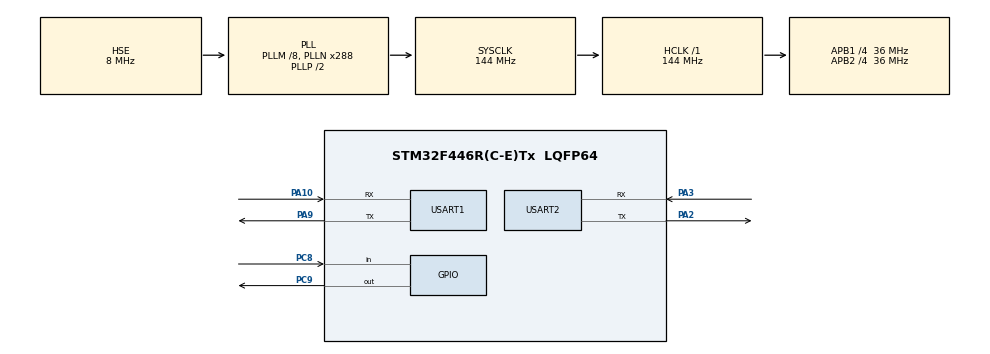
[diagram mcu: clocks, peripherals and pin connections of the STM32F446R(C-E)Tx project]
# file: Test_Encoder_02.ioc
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Mcu.Family=STM32F4
Mcu.Name=STM32F446R(C-E)Tx
Mcu.Package=LQFP64
NVIC.PriorityGroup=NVIC_PRIORITYGROUP_4
NVIC.TIM2_IRQn=true\:0\:0\:false\:true\:true\:1\:true
PA10.Mode=Asynchronous
PA10.Signal=USART1_RX
PA2.Mode=Asynchronous
PA2.Signal=USART2_TX
PA3.Mode=Asynchronous
PA3.Signal=USART2_RX
PA9.Mode=Asynchronous
PA9.Signal=USART1_TX
PC8.Signal=GPIO_Input
PC9.GPIO_Speed=GPIO_SPEED_FREQ_VERY_HIGH
PC9.Signal=GPIO_Output
PH0-OSC_IN.Mode=HSE-External-Clock-Source
PH0-OSC_IN.Signal=RCC_OSC_IN
PH1-OSC_OUT.Mode=HSE-External-Clock-Source
PH1-OSC_OUT.Signal=RCC_OSC_OUT
ProjectManager.HeapSize=0x200
ProjectManager.StackSize=0x400
ProjectManager.TargetToolchain=SW4STM32
RCC.AHBFreq_Value=144000000
RCC.APB1CLKDivider=RCC_HCLK_DIV4
RCC.APB1Freq_Value=36000000
RCC.APB1TimFreq_Value=72000000
RCC.APB2CLKDivider=RCC_HCLK_DIV4
RCC.APB2Freq_Value=36000000
RCC.APB2TimFreq_Value=72000000
RCC.CortexFreq_Value=144000000
RCC.HCLKFreq_Value=144000000
RCC.HSE_VALUE=8000000
RCC.PLLM=8
RCC.PLLN=288
RCC.PLLSourceVirtual=RCC_PLLSOURCE_HSE
RCC.SYSCLKFreq_VALUE=144000000
RCC.SYSCLKSource=RCC_SYSCLKSOURCE_PLLCLK
RCC.USBFreq_Value=144000000
RCC.VCOOutputFreq_Value=288000000
TIM2.Period=4000000000
TIM2.Prescaler=36
TIM3.Period=65500
TIM3.Prescaler=18
USART1.VirtualMode=VM_ASYNC
USART2.VirtualMode=VM_ASYNC
VP_TIM2_VS_ClockSourceINT.Mode=Internal
VP_TIM2_VS_ClockSourceITR.Mode=TriggerSource_ITR0
VP_TIM3_VS_ClockSourceINT.Mode=Internal
board=custom

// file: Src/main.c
/**
  ******************************************************************************
  * @file           : main.c
  * @brief          : Main program body
  ******************************************************************************
  ** This notice applies to any and all portions of this file
  * that are not between comment pairs USER CODE BEGIN and
  * USER CODE END. Other portions of this file, whether
  * inserted by the user or by software development tools
  * are owned by their respective copyright owners.
  *
  * COPYRIGHT(c) 2018 STMicroelectronics
  *
  * Redistribution and use in source and binary forms, with or without modification,
  * are permitted provided that the following conditions are met:
  *   1. Redistributions of source code must retain the above copyright notice,
  *      this list of conditions and the following disclaimer.
  *   2. Redistributions in binary form must reproduce the above copyright notice,
  *      this list of conditions and the following disclaimer in the documentation
  *      and/or other materials provided with the distribution.
  *   3. Neither the name of STMicroelectronics nor the names of its contributors
  *      may be used to endorse or promote products derived from this software
  *      without specific prior written permission.
  *
  * THIS SOFTWARE IS PROVIDED BY THE COPYRIGHT HOLDERS AND CONTRIBUTORS "AS IS"
  * AND ANY EXPRESS OR IMPLIED WARRANTIES, INCLUDING, BUT NOT LIMITED TO, THE
  * IMPLIED WARRANTIES OF MERCHANTABILITY AND FITNESS FOR A PARTICULAR PURPOSE ARE
  * DISCLAIMED. IN NO EVENT SHALL THE COPYRIGHT HOLDER OR CONTRIBUTORS BE LIABLE
  * FOR ANY DIRECT, INDIRECT, INCIDENTAL, SPECIAL, EXEMPLARY, OR CONSEQUENTIAL
  * DAMAGES (INCLUDING, BUT NOT LIMITED TO, PROCUREMENT OF SUBSTITUTE GOODS OR
  * SERVICES; LOSS OF USE, DATA, OR PROFITS; OR BUSINESS INTERRUPTION) HOWEVER
  * CAUSED AND ON ANY THEORY OF LIABILITY, WHETHER IN CONTRACT, STRICT LIABILITY,
  * OR TORT (INCLUDING NEGLIGENCE OR OTHERWISE) ARISING IN ANY WAY OUT OF THE USE
  * OF THIS SOFTWARE, EVEN IF ADVISED OF THE POSSIBILITY OF SUCH DAMAGE.
  *
  ******************************************************************************
  */
//#include "Eagle_TRT.h"
#include "main.h"
#include "stm32f4xx_hal.h"

/* USER CODE BEGIN Includes */
#include "stm32f4xx_hal.h"
#include "string.h"
#include "stdio.h"
#include "stdlib.h"
//#include "Eagle_TRT.h

/* USER CODE END Includes */

TIM_HandleTypeDef htim2;
TIM_HandleTypeDef htim3;

UART_HandleTypeDef huart1;
UART_HandleTypeDef huart2;

/* USER CODE BEGIN PV */
/* Private variables ---------------------------------------------------------*/
TIM_HandleTypeDef s_TimerInstance = {.Instance = TIM2};
TIM_HandleTypeDef a_TimerInstance = {.Instance = TIM3};

/* USER CODE END PV */

void SystemClock_Config(void);
static void MX_GPIO_Init(void);
static void MX_TIM2_Init(void);
static void MX_TIM3_Init(void);
static void MX_USART1_UART_Init(void);
static void MX_USART2_UART_Init(void);
static void MX_NVIC_Init(void);

/* USER CODE BEGIN PFP */
/* Private function prototypes -----------------------------------------------*/

/* USER CODE END PFP */

/* USER CODE BEGIN 0 */
double angular_speed = 0;
char txt[50];
int clock_loop = 0;
int clock_state = 0, clock_state_prec = 0;
int int_data = 0;
float angle = 0;
float angle_prec = 0;
int Error = 0;
int data_bin_len = 15;
float wheel_diameter = 0.4064;
int interrupt_flag = 0;
int interrupt_counter = 0;
float angles_array[10];
double encoder_refresh = 1000;
double speed[15];
double average_speed = 0;

/* USER CODE END 0 */

int main(void)
{

  /* MCU Configuration----------------------------------------------------------*/

  /* Reset of all peripherals, Initializes the Flash interface and the Systick. */
  HAL_Init();

  /* Configure the system clock */
  SystemClock_Config();

  /* Initialize all configured peripherals */
  MX_GPIO_Init();
  MX_TIM2_Init();
  MX_TIM3_Init();
  MX_USART1_UART_Init();
  MX_USART2_UART_Init();

  /* Initialize interrupts */
  MX_NVIC_Init();
  /* USER CODE BEGIN 2 */
  HAL_TIM_Base_Start(&htim2);
  HAL_TIM_Base_Start(&htim3);

  /* USER CODE END 2 */

  /* Infinite loop */
  /* USER CODE BEGIN WHILE */
  __HAL_TIM_SET_COUNTER(&a_TimerInstance, 0);
  __HAL_TIM_SET_COUNTER(&a_TimerInstance, 0);

  /* USER CODE END 2 */

  /* Infinite loop */
  /* USER CODE BEGIN WHILE */

  HAL_TIM_Base_Start_IT(&htim2);

  while (1)
  {

  /* USER CODE END WHILE */

  /* USER CODE BEGIN 3 */
	  //int decimal = (average_speed - (int)average_speed)*100;
	  //sprintf(txt, "%d.%d", (int)(average_speed), (int)decimal);
	  double a = read_encoder(&a_TimerInstance);
	  sprintf(txt, "%d", (int)(speed[9]*100));
	  print(&huart1, txt);

	  HAL_Delay(100);

  }
  /* USER CODE END 3 */

}

void SystemClock_Config(void)
{

  RCC_OscInitTypeDef RCC_OscInitStruct;
  RCC_ClkInitTypeDef RCC_ClkInitStruct;

    /**Configure the main internal regulator output voltage
    */
  __HAL_RCC_PWR_CLK_ENABLE();

  __HAL_PWR_VOLTAGESCALING_CONFIG(PWR_REGULATOR_VOLTAGE_SCALE1);

    /**Initializes the CPU, AHB and APB busses clocks
    */
  RCC_OscInitStruct.OscillatorType = RCC_OSCILLATORTYPE_HSE;
  RCC_OscInitStruct.HSEState = RCC_HSE_BYPASS;
  RCC_OscInitStruct.PLL.PLLState = RCC_PLL_ON;
  RCC_OscInitStruct.PLL.PLLSource = RCC_PLLSOURCE_HSE;
  RCC_OscInitStruct.PLL.PLLM = 8;
  RCC_OscInitStruct.PLL.PLLN = 288;
  RCC_OscInitStruct.PLL.PLLP = RCC_PLLP_DIV2;
  RCC_OscInitStruct.PLL.PLLQ = 2;
  RCC_OscInitStruct.PLL.PLLR = 2;
  if (HAL_RCC_OscConfig(&RCC_OscInitStruct) != HAL_OK)
  {
    _Error_Handler(__FILE__, __LINE__);
  }

    /**Initializes the CPU, AHB and APB busses clocks
    */
  RCC_ClkInitStruct.ClockType = RCC_CLOCKTYPE_HCLK|RCC_CLOCKTYPE_SYSCLK
                              |RCC_CLOCKTYPE_PCLK1|RCC_CLOCKTYPE_PCLK2;
  RCC_ClkInitStruct.SYSCLKSource = RCC_SYSCLKSOURCE_PLLCLK;
  RCC_ClkInitStruct.AHBCLKDivider = RCC_SYSCLK_DIV1;
  RCC_ClkInitStruct.APB1CLKDivider = RCC_HCLK_DIV4;
  RCC_ClkInitStruct.APB2CLKDivider = RCC_HCLK_DIV4;

  if (HAL_RCC_ClockConfig(&RCC_ClkInitStruct, FLASH_LATENCY_4) != HAL_OK)
  {
    _Error_Handler(__FILE__, __LINE__);
  }

    /**Configure the Systick interrupt time
    */
  HAL_SYSTICK_Config(HAL_RCC_GetHCLKFreq()/1000);

    /**Configure the Systick
    */
  HAL_SYSTICK_CLKSourceConfig(SYSTICK_CLKSOURCE_HCLK);

  /* SysTick_IRQn interrupt configuration */
  HAL_NVIC_SetPriority(SysTick_IRQn, 0, 0);
}

/**
  * @brief NVIC Configuration.
  * @retval None
  */
static void MX_NVIC_Init(void)
{
  /* TIM2_IRQn interrupt configuration */
  HAL_NVIC_SetPriority(TIM2_IRQn, 0, 0);
  HAL_NVIC_EnableIRQ(TIM2_IRQn);
}

/* TIM2 init function */
static void MX_TIM2_Init(void)
{

  TIM_ClockConfigTypeDef sClockSourceConfig;
  TIM_SlaveConfigTypeDef sSlaveConfig;
  TIM_MasterConfigTypeDef sMasterConfig;

  htim2.Instance = TIM2;
  htim2.Init.Prescaler = 36;
  htim2.Init.CounterMode = TIM_COUNTERMODE_UP;
  htim2.Init.Period = encoder_refresh;
  htim2.Init.ClockDivision = TIM_CLOCKDIVISION_DIV1;
  if (HAL_TIM_Base_Init(&htim2) != HAL_OK)
  {
	  _Error_Handler(__FILE__, __LINE__);
  }

  sClockSourceConfig.ClockSource = TIM_CLOCKSOURCE_INTERNAL;
  if (HAL_TIM_ConfigClockSource(&htim2, &sClockSourceConfig) != HAL_OK)
  {
    _Error_Handler(__FILE__, __LINE__);
  }

  sSlaveConfig.SlaveMode = TIM_SLAVEMODE_DISABLE;
  sSlaveConfig.InputTrigger = TIM_TS_ITR0;
  if (HAL_TIM_SlaveConfigSynchronization(&htim2, &sSlaveConfig) != HAL_OK)
  {
    _Error_Handler(__FILE__, __LINE__);
  }

  sMasterConfig.MasterOutputTrigger = TIM_TRGO_RESET;
  sMasterConfig.MasterSlaveMode = TIM_MASTERSLAVEMODE_DISABLE;
  if (HAL_TIMEx_MasterConfigSynchronization(&htim2, &sMasterConfig) != HAL_OK)
  {
    _Error_Handler(__FILE__, __LINE__);
  }

}

/* TIM3 init function */
static void MX_TIM3_Init(void)
{

  TIM_ClockConfigTypeDef sClockSourceConfig;
  TIM_MasterConfigTypeDef sMasterConfig;

  htim3.Instance = TIM3;
  htim3.Init.Prescaler = 18;
  htim3.Init.CounterMode = TIM_COUNTERMODE_UP;
  htim3.Init.Period = 65500;
  htim3.Init.ClockDivision = TIM_CLOCKDIVISION_DIV1;
  if (HAL_TIM_Base_Init(&htim3) != HAL_OK)
  {
    _Error_Handler(__FILE__, __LINE__);
  }

  sClockSourceConfig.ClockSource = TIM_CLOCKSOURCE_INTERNAL;
  if (HAL_TIM_ConfigClockSource(&htim3, &sClockSourceConfig) != HAL_OK)
  {
    _Error_Handler(__FILE__, __LINE__);
  }

  sMasterConfig.MasterOutputTrigger = TIM_TRGO_RESET;
  sMasterConfig.MasterSlaveMode = TIM_MASTERSLAVEMODE_DISABLE;
  if (HAL_TIMEx_MasterConfigSynchronization(&htim3, &sMasterConfig) != HAL_OK)
  {
    _Error_Handler(__FILE__, __LINE__);
  }

}

/* USART1 init function */
static void MX_USART1_UART_Init(void)
{

  huart1.Instance = USART1;
  huart1.Init.BaudRate = 115200;
  huart1.Init.WordLength = UART_WORDLENGTH_8B;
  huart1.Init.StopBits = UART_STOPBITS_1;
  huart1.Init.Parity = UART_PARITY_NONE;
  huart1.Init.Mode = UART_MODE_TX_RX;
  huart1.Init.HwFlowCtl = UART_HWCONTROL_NONE;
  huart1.Init.OverSampling = UART_OVERSAMPLING_16;
  if (HAL_UART_Init(&huart1) != HAL_OK)
  {
    _Error_Handler(__FILE__, __LINE__);
  }

}

/* USART2 init function */
static void MX_USART2_UART_Init(void)
{

  huart2.Instance = USART2;
  huart2.Init.BaudRate = 115200;
  huart2.Init.WordLength = UART_WORDLENGTH_8B;
  huart2.Init.StopBits = UART_STOPBITS_1;
  huart2.Init.Parity = UART_PARITY_NONE;
  huart2.Init.Mode = UART_MODE_TX_RX;
  huart2.Init.HwFlowCtl = UART_HWCONTROL_NONE;
  huart2.Init.OverSampling = UART_OVERSAMPLING_16;
  if (HAL_UART_Init(&huart2) != HAL_OK)
  {
    _Error_Handler(__FILE__, __LINE__);
  }

}

/** Configure pins as
        * Analog
        * Input
        * Output
        * EVENT_OUT
        * EXTI
*/
static void MX_GPIO_Init(void)
{

  GPIO_InitTypeDef GPIO_InitStruct;

  /* GPIO Ports Clock Enable */
  __HAL_RCC_GPIOH_CLK_ENABLE();
  __HAL_RCC_GPIOA_CLK_ENABLE();
  __HAL_RCC_GPIOC_CLK_ENABLE();

  /*Configure GPIO pin Output Level */
  HAL_GPIO_WritePin(GPIOC, GPIO_PIN_9, GPIO_PIN_SET);

  /*Configure GPIO pin : PC8 */
  GPIO_InitStruct.Pin = GPIO_PIN_8;
  GPIO_InitStruct.Mode = GPIO_MODE_INPUT;
  GPIO_InitStruct.Pull = GPIO_NOPULL;
  HAL_GPIO_Init(GPIOC, &GPIO_InitStruct);

  /*Configure GPIO pin : PC9 */
  GPIO_InitStruct.Pin = GPIO_PIN_9;
  GPIO_InitStruct.Mode = GPIO_MODE_OUTPUT_PP;
  GPIO_InitStruct.Pull = GPIO_NOPULL;
  GPIO_InitStruct.Speed = GPIO_SPEED_FREQ_VERY_HIGH;
  HAL_GPIO_Init(GPIOC, &GPIO_InitStruct);

}

/* USER CODE BEGIN 4 */

void print(char* text){
	HAL_UART_Transmit(&huart2, (uint8_t*)text, strlen(text), 5);
	HAL_UART_Transmit(&huart2, (uint8_t*)"\r\n", 2, 1);
}

//function to request data from encoder via SSI communication
double read_encoder(){
	int clock_loop = 16;
	double int_data = 0;
	int clock_period = 2;
	int Data[50];

	HAL_GPIO_WritePin(GPIOC, GPIO_PIN_9, GPIO_PIN_RESET);	//clock was high: reset to low
	__HAL_TIM_SET_COUNTER(&a_TimerInstance, 0);			//delay of 1 microsecond like from datasheet
	while(__HAL_TIM_GET_COUNTER(&a_TimerInstance) <= clock_period){
	}
	HAL_GPIO_WritePin(GPIOC, GPIO_PIN_9, GPIO_PIN_SET);	//clock set to high to request the bit
	__HAL_TIM_SET_COUNTER(&a_TimerInstance, 0);			//delay of 1 microsecond like from datasheet
	while(__HAL_TIM_GET_COUNTER(&a_TimerInstance) <= clock_period){
	}
	HAL_GPIO_WritePin(GPIOC, GPIO_PIN_9, GPIO_PIN_RESET);	//clock was high: reset to low

	for(int i = 0; i < clock_loop; i++){
		HAL_GPIO_WritePin(GPIOC, GPIO_PIN_9, GPIO_PIN_SET);	//clock set to high to request the bit

		__HAL_TIM_SET_COUNTER(&a_TimerInstance, 0);			//delay of 1 microsecond like from datasheet
		while(__HAL_TIM_GET_COUNTER(&a_TimerInstance) <= clock_period){
		}

		if(HAL_GPIO_ReadPin(GPIOC, GPIO_PIN_8) == GPIO_PIN_SET && i <= 15){	//reading the data input
			Data[i] = 1;
		}
		else{
			Data[i] = 0;
		}

		if(i == clock_loop-1){												//if it is the last loop set the clock pin to high, else set to low
			HAL_GPIO_WritePin(GPIOC, GPIO_PIN_9, GPIO_PIN_SET);

			__HAL_TIM_SET_COUNTER(&a_TimerInstance, 0);			//delay of 20 microsecond like from datasheet
			while(__HAL_TIM_GET_COUNTER(&a_TimerInstance) <= 40){
			}
		}
		else{
			HAL_GPIO_WritePin(GPIOC, GPIO_PIN_9, GPIO_PIN_RESET);
		}

		__HAL_TIM_SET_COUNTER(&a_TimerInstance, 0);					//delay of anothe 1 micros like from datasheet
		while(__HAL_TIM_GET_COUNTER(&a_TimerInstance) <= clock_period){
		}

		if(i == 15){												//if it is the last loop cast the sata from binary to decimal
			int_data = bin_dec(Data);

			//sprintf(txt, "%d", (int)int_data);

			int_data = int_data / 45.5055;							//conversions from raw data to angle
			int_data /= 2;

			Error = Data[15];										//If 0 no error, if 1 the encoder is unplugged

			//sprintf(txt, "%d", (int)int_data);
			sprintf(txt, "%d%d%d%d%d%d%d%d%d%d%d%d%d%d%d%d", Data[0], Data[1], Data[2], Data[3], Data[4], Data[5], Data[6], Data[7], Data[8], Data[9], Data[10], Data[11], Data[12], Data[13], Data[14], Data[15]);
			print(txt);
		}

	}
	return int_data;
}

//interrupt function of tim 2
void HAL_TIM_PeriodElapsedCallback(TIM_HandleTypeDef *htim){
	if(interrupt_flag == 0){									//every 3 times request the angle from encoder
		angles_array[0] = read_encoder();
		interrupt_flag ++;
	}
	else{
	if(interrupt_flag == 1){									//every 3 times request the angle from encoder
		angles_array[1] = read_encoder();
		interrupt_flag ++;
	}
	else{
	if(interrupt_flag == 2){									//calculate the speed from the two last angles
		double Speed = get_speed(angles_array[0], angles_array[1]);
		if(abs(Speed - speed[8]) <= abs(speed[8] * 10)){			//exclude the wrong speeds
			shift_array(speed, 15, Speed);
			average_speed = dynamic_average(speed, 15);
		}
		interrupt_flag = 0;
	}
	}
	}
}

int bin_dec(int* bin){
	int dec = 0;
	int max = 15;

	for(int i = 0; i < max; i++){
		if(bin[i] == 1){
			dec += Power(2, max-i-1);
		}
	}

	return dec;
}

double Power(int base, int expn){
	double result = 1;									//function used to calculate the power of a number
	if(expn != 0){
		for(int j = 0; j < expn; j++){
			result = result * base;
		}
	}

	return result;
}

void shift_array(double *array, int size, double data){		//add one data on the last position and shifts all the others
	for(int i = 1; i < size; i++){
		array[i-1] = array[i];
	}
	array[size-1] = data;
}

double get_speed(float angle0, float angle1){
	double meters_per_second = 0;
	double dt = 0;

	dt = encoder_refresh / 1000000;
	meters_per_second = ((angle0 - angle1)/360)*3.14159265359*(wheel_diameter);			//calculating the speed using the circumference arc
	meters_per_second /= dt;

	//sprintf(txt, "%d", (int)(speed[9]*100));
	//print(txt);

	return meters_per_second;
}

//function that calculate the average of all the numbers in one array
double dynamic_average(double *array, int size){
	double sum = 0;
	double average = 0;

	for(int i = 0; i < size; i++){
		sum += array[i];
	}
	average = sum / size;

	return average;
}

/* USER CODE END 4 */

void _Error_Handler(char *file, int line)
{
  while(1)
  {
  }
}

/************************ (C) COPYRIGHT STMicroelectronics *****END OF FILE****/
